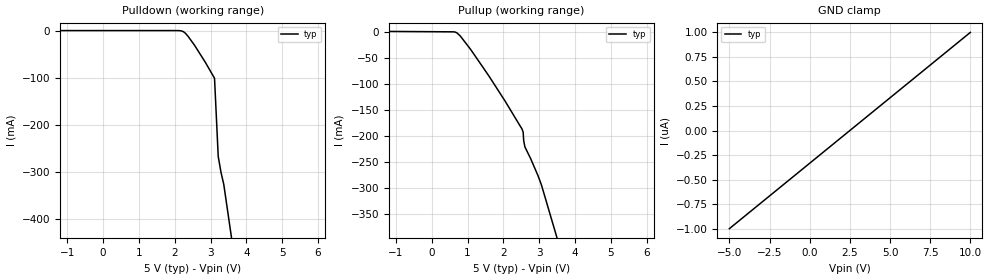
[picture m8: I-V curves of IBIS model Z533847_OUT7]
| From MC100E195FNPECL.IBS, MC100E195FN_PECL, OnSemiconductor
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| (C) COPYRIGHT 1993-2000
| MENTOR GRAPHICS CORPORATION
| ICX STANDARD LIBRARY, ICX PROJECT MODELING,
| ICX CUSTOM MODELING, ICX VENDOR MODEL
| ALL RIGHTS RESERVED.
| THE FOLLOWING ARE TRADEMARKS OR SERVICE MARKS OF
| MENTOR GRAPHICS CORPORATION:ICX (R), ICX STANDARD
| LIBRARY(R), ICX PROJECT MODELING(R), ICX CUSTOM
| MODELING(R), qualityIBIS(TM), MODELVIEWER(TM),
| AND MODELEDITOR(TM)
| ALL COPIES OF SOFTWARE, INCLUDING BUT NOT LIMITED TO
| ANY MODIFICATIONS, ENHANCEMENTS OR DERIVATIVE WORKS,
| MUST CONTAIN ALL MENTOR GRAPHICS CORPORATION'S
| NOTICES AND LEGENDS, INCLUDING THOSE EMBEDDED IN
| SOFTWARE AND THOSE AFFIXED TO SOFTWARE MEDIUM
| AND CONTAINER, AS RECEIVED FROM MENTOR GRAPHICS
| CORPORATION.
| Model Application Version 1.89 2/18/99.
[Model] Z533847_OUT7
Model_type Output_ECL
Vref=3.000V
Rref=50.00ohms
Cref=0.000F
Vmeas=3.677V
C_comp 8.000pF NA NA
| variable typ   min   max
[Voltage Range] 5.000V NA NA
[POWER Clamp Reference] 5.000V NA NA
[Pullup Reference] 5.000V NA NA
[Pulldown Reference] 5.000V NA NA
[GND Clamp Reference] 0.000V NA NA
[GND Clamp]
-5V       -1uA       NA         NA
10V       1uA        NA         NA
[Pulldown]
-5V       256uA      NA         NA
2.1V      222.7uA    NA         NA
2.237V    -1.942mA   NA         NA
2.368V    -11.62mA   NA         NA
2.549V    -30.57mA   NA         NA
2.847V    -66.21mA   NA         NA
3.11V     -100.8mA   NA         NA
3.213V    -266.5mA   NA         NA
3.291V    -300.4mA   NA         NA
3.368V    -325.7mA   NA         NA
10V       -3.795A    NA         NA
[Pullup]
-5V       2.451mA    NA         NA
662mV     -681.1uA   NA         NA
796mV     -7.939mA   NA         NA
1.089V    -34.19mA   NA         NA
1.592V    -84.58mA   NA         NA
2.519V    -187mA     NA         NA
2.553V    -193.3mA   NA         NA
2.568V    -209.7mA   NA         NA
2.602V    -221.7mA   NA         NA
2.759V    -243.7mA   NA         NA
3.061V    -294.3mA   NA         NA
10V       -1.921A    NA         NA
[POWER Clamp]
-5V       0A         NA         NA
10V       0A         NA         NA
[Ramp]
| variable typ min max
dV/dt_r 898.0m/1.889n NA NA
dV/dt_f 898.0m/1.503n NA NA
R_load = 500.0Ohms
